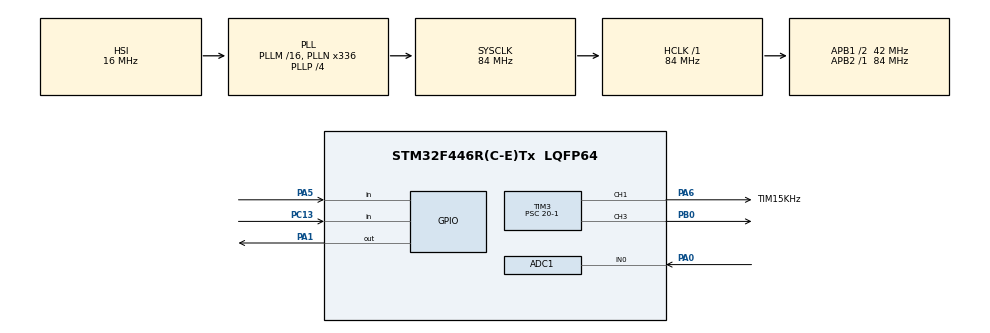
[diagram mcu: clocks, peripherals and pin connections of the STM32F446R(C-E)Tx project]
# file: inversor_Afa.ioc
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ADC1.Channel-0\#ChannelRegularConversion=ADC_CHANNEL_0
ADC1.NbrOfConversionFlag=1
ADC1.Rank-0\#ChannelRegularConversion=1
ADC1.Resolution=ADC_RESOLUTION_6B
ADC1.SamplingTime-0\#ChannelRegularConversion=ADC_SAMPLETIME_3CYCLES
ADC1.master=1
Dma.Request0=TIM3_CH1/TRIG
Dma.Request1=TIM3_CH3
Dma.TIM3_CH1/TRIG.0.Direction=DMA_MEMORY_TO_PERIPH
Dma.TIM3_CH1/TRIG.0.FIFOMode=DMA_FIFOMODE_DISABLE
Dma.TIM3_CH1/TRIG.0.Instance=DMA1_Stream4
Dma.TIM3_CH1/TRIG.0.MemDataAlignment=DMA_MDATAALIGN_HALFWORD
Dma.TIM3_CH1/TRIG.0.MemInc=DMA_MINC_ENABLE
Dma.TIM3_CH1/TRIG.0.Mode=DMA_CIRCULAR
Dma.TIM3_CH1/TRIG.0.PeriphDataAlignment=DMA_PDATAALIGN_HALFWORD
Dma.TIM3_CH1/TRIG.0.PeriphInc=DMA_PINC_DISABLE
Dma.TIM3_CH1/TRIG.0.Priority=DMA_PRIORITY_LOW
Dma.TIM3_CH3.1.Direction=DMA_MEMORY_TO_PERIPH
Dma.TIM3_CH3.1.FIFOMode=DMA_FIFOMODE_DISABLE
Dma.TIM3_CH3.1.Instance=DMA1_Stream7
Dma.TIM3_CH3.1.MemDataAlignment=DMA_MDATAALIGN_HALFWORD
Dma.TIM3_CH3.1.MemInc=DMA_MINC_ENABLE
Dma.TIM3_CH3.1.Mode=DMA_CIRCULAR
Dma.TIM3_CH3.1.PeriphDataAlignment=DMA_PDATAALIGN_HALFWORD
Dma.TIM3_CH3.1.PeriphInc=DMA_PINC_DISABLE
Dma.TIM3_CH3.1.Priority=DMA_PRIORITY_LOW
Mcu.Family=STM32F4
Mcu.Name=STM32F446R(C-E)Tx
Mcu.Package=LQFP64
NVIC.DMA1_Stream4_IRQn=true\:0\:0\:false\:false\:true\:false\:true\:true
NVIC.DMA1_Stream7_IRQn=true\:0\:0\:false\:false\:true\:false\:true\:true
NVIC.PriorityGroup=NVIC_PRIORITYGROUP_0
PA0-WKUP.Signal=ADCx_IN0
PA1.GPIO_PuPd=GPIO_PULLDOWN
PA1.Signal=GPIO_Output
PA13.GPIO_Label=TMS
PA13.Mode=Serial_Wire
PA13.Signal=SYS_JTMS-SWDIO
PA14.GPIO_Label=TCK
PA14.Mode=Serial_Wire
PA14.Signal=SYS_JTCK-SWCLK
PA2.GPIO_Label=USART_TX
PA2.Signal=USART2_TX
PA3.GPIO_Label=USART_RX
PA3.Signal=USART2_RX
PA5.Signal=GPIO_Input
PA6.GPIO_Label=TIM15KHz
PA6.Signal=S_TIM3_CH1
PB0.Signal=S_TIM3_CH3
PB3.GPIO_Label=SWO
PB3.Signal=SYS_JTDO-SWO
PC13.GPIO_PuPd=GPIO_PULLUP
PC13.Signal=GPIO_Input
PC14-OSC32_IN.Mode=LSE-External-Oscillator
PC14-OSC32_IN.Signal=RCC_OSC32_IN
PC15-OSC32_OUT.Mode=LSE-External-Oscillator
PC15-OSC32_OUT.Signal=RCC_OSC32_OUT
PH0-OSC_IN.Mode=HSE-External-Oscillator
PH0-OSC_IN.Signal=RCC_OSC_IN
PH1-OSC_OUT.Mode=HSE-External-Oscillator
PH1-OSC_OUT.Signal=RCC_OSC_OUT
ProjectManager.HeapSize=0x200
ProjectManager.StackSize=0x400
ProjectManager.TargetToolchain=STM32CubeIDE
RCC.48MHZClocksFreq_Value=84000000
RCC.AHBFreq_Value=84000000
RCC.APB1CLKDivider=RCC_HCLK_DIV2
RCC.APB1Freq_Value=42000000
RCC.APB1TimFreq_Value=84000000
RCC.APB2Freq_Value=84000000
RCC.APB2TimFreq_Value=84000000
RCC.CortexFreq_Value=84000000
RCC.FLatency-AdvancedSettings=FLASH_LATENCY_2
RCC.HCLKFreq_Value=84000000
RCC.HSE_VALUE=8000000
RCC.HSI_VALUE=16000000
RCC.PLLN=336
RCC.PLLP=RCC_PLLP_DIV4
RCC.SYSCLKFreq_VALUE=84000000
RCC.SYSCLKSource=RCC_SYSCLKSOURCE_PLLCLK
RCC.USBFreq_Value=168000000
RCC.VCOOutputFreq_Value=336000000
SH.ADCx_IN0.0=ADC1_IN0,IN0
SH.S_TIM3_CH1.0=TIM3_CH1,PWM Generation1 CH1
SH.S_TIM3_CH3.0=TIM3_CH3,PWM Generation3 CH3
TIM3.Channel-PWM\ Generation1\ CH1=TIM_CHANNEL_1
TIM3.Channel-PWM\ Generation3\ CH3=TIM_CHANNEL_3
TIM3.OCMode_PWM-PWM\ Generation3\ CH3=TIM_OCMODE_PWM2
TIM3.Period=280-1
TIM3.Prescaler=20-1
VP_TIM3_VS_ClockSourceINT.Mode=Internal
board=NUCLEO-F446RE

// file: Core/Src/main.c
/* USER CODE BEGIN Header */
/**
  ******************************************************************************
  * @file           : main.c
  * @brief          : Main program body
  ******************************************************************************
  * @attention
  *
  * Copyright (c) 2022 STMicroelectronics.
  * All rights reserved.
  *
  * This software is licensed under terms that can be found in the LICENSE file
  * in the root directory of this software component.
  * If no LICENSE file comes with this software, it is provided AS-IS.
  *
  ******************************************************************************
  */
/* USER CODE END Header */
#include "main.h"

/* USER CODE BEGIN Includes */
#include "math.h"
/* USER CODE END Includes */

/* USER CODE BEGIN PD */
#define DOUBLEPI 6.28
#define POSICOES 250
/* USER CODE END PD */

ADC_HandleTypeDef hadc1;

TIM_HandleTypeDef htim3;
DMA_HandleTypeDef hdma_tim3_ch1_trig;
DMA_HandleTypeDef hdma_tim3_ch3;

/* USER CODE BEGIN PV */

uint16_t seno[POSICOES];
uint16_t seno_inv[POSICOES];
uint8_t i = 0;
int newArr =0;
int prescaler;
int botao;
int rele;
/* USER CODE END PV */

void SystemClock_Config(void);
static void MX_GPIO_Init(void);
static void MX_DMA_Init(void);
static void MX_TIM3_Init(void);
static void MX_ADC1_Init(void);

int main(void)
{

  /* MCU Configuration--------------------------------------------------------*/

  /* Reset of all peripherals, Initializes the Flash interface and the Systick. */
  HAL_Init();

  /* Configure the system clock */
  SystemClock_Config();

  /* Initialize all configured peripherals */
  MX_GPIO_Init();
  MX_DMA_Init();
  MX_TIM3_Init();
  MX_ADC1_Init();
  /* USER CODE BEGIN 2 */

  //Botão para dar Toggle no Relé

  for(i=0;i<POSICOES;i++) //Populatin the Array
  {
	  seno[i] = (((sin(i*(DOUBLEPI/POSICOES)))+1)*(((280+1)/2)));
	  seno_inv[i] = (((sin(i*(DOUBLEPI/POSICOES)))+1)*(((280+1)/2)));
	  //Preenchimento dos Arrays com os valores senoidais de tensão média no PWM

		  if (seno[i]>=140)
		  {
			 seno_inv[i] = 279;
		  }
		  else if (seno[i]<=140)
		  {
			  seno[i] = 0;
		  }
		  //Geração do desligamento no semiciclo negativo

		  if(i>=126 && i<=128)
		  {
			  seno[i] = 0;
			  seno_inv[i] = 279;
		  }
		  //Geração do Intervalo Inicial do Tempo morto

		  if(i>=245 && i<=249)
		  {
			  seno[i] = 0;
			  seno_inv[i] = 279;
		  }
		  //Geração do Intervalo final do tempo morto

  }

  HAL_TIM_PWM_Start_DMA(&htim3, TIM_CHANNEL_1, seno, POSICOES);
  HAL_TIM_PWM_Start_DMA(&htim3, TIM_CHANNEL_3, seno_inv, POSICOES);

  /* USER CODE END 2 */

  /* Infinite loop */
  while (1)
  {

    /* USER CODE BEGIN 3 */
	HAL_ADC_Start(&hadc1);
	newArr = HAL_ADC_GetValue(&hadc1);
	if(newArr>=17 && newArr<=21)
	{
	__HAL_TIM_SET_PRESCALER(&htim3, newArr);
	}

	botao = HAL_GPIO_ReadPin(GPIOC, GPIO_PIN_13);
	  if(botao == 0)
	  {
		  HAL_GPIO_WritePin(GPIOA, GPIO_PIN_1, GPIO_PIN_SET);
	  }

	  rele = HAL_GPIO_ReadPin(GPIOA, GPIO_PIN_1);

	//Limite de valores de frequência
  }
  /* USER CODE END 3 */
}

void SystemClock_Config(void)
{
  RCC_OscInitTypeDef RCC_OscInitStruct = {0};
  RCC_ClkInitTypeDef RCC_ClkInitStruct = {0};

  /** Configure the main internal regulator output voltage
  */
  __HAL_RCC_PWR_CLK_ENABLE();
  __HAL_PWR_VOLTAGESCALING_CONFIG(PWR_REGULATOR_VOLTAGE_SCALE3);

  /** Initializes the RCC Oscillators according to the specified parameters
  * in the RCC_OscInitTypeDef structure.
  */
  RCC_OscInitStruct.OscillatorType = RCC_OSCILLATORTYPE_HSI;
  RCC_OscInitStruct.HSIState = RCC_HSI_ON;
  RCC_OscInitStruct.HSICalibrationValue = RCC_HSICALIBRATION_DEFAULT;
  RCC_OscInitStruct.PLL.PLLState = RCC_PLL_ON;
  RCC_OscInitStruct.PLL.PLLSource = RCC_PLLSOURCE_HSI;
  RCC_OscInitStruct.PLL.PLLM = 16;
  RCC_OscInitStruct.PLL.PLLN = 336;
  RCC_OscInitStruct.PLL.PLLP = RCC_PLLP_DIV4;
  RCC_OscInitStruct.PLL.PLLQ = 2;
  RCC_OscInitStruct.PLL.PLLR = 2;
  if (HAL_RCC_OscConfig(&RCC_OscInitStruct) != HAL_OK)
  {
    Error_Handler();
  }

  /** Initializes the CPU, AHB and APB buses clocks
  */
  RCC_ClkInitStruct.ClockType = RCC_CLOCKTYPE_HCLK|RCC_CLOCKTYPE_SYSCLK
                              |RCC_CLOCKTYPE_PCLK1|RCC_CLOCKTYPE_PCLK2;
  RCC_ClkInitStruct.SYSCLKSource = RCC_SYSCLKSOURCE_PLLCLK;
  RCC_ClkInitStruct.AHBCLKDivider = RCC_SYSCLK_DIV1;
  RCC_ClkInitStruct.APB1CLKDivider = RCC_HCLK_DIV2;
  RCC_ClkInitStruct.APB2CLKDivider = RCC_HCLK_DIV1;

  if (HAL_RCC_ClockConfig(&RCC_ClkInitStruct, FLASH_LATENCY_2) != HAL_OK)
  {
    Error_Handler();
  }
}

static void MX_ADC1_Init(void)
{

  ADC_ChannelConfTypeDef sConfig = {0};

  /** Configure the global features of the ADC (Clock, Resolution, Data Alignment and number of conversion)
  */
  hadc1.Instance = ADC1;
  hadc1.Init.ClockPrescaler = ADC_CLOCK_SYNC_PCLK_DIV4;
  hadc1.Init.Resolution = ADC_RESOLUTION_6B;
  hadc1.Init.ScanConvMode = DISABLE;
  hadc1.Init.ContinuousConvMode = DISABLE;
  hadc1.Init.DiscontinuousConvMode = DISABLE;
  hadc1.Init.ExternalTrigConvEdge = ADC_EXTERNALTRIGCONVEDGE_NONE;
  hadc1.Init.ExternalTrigConv = ADC_SOFTWARE_START;
  hadc1.Init.DataAlign = ADC_DATAALIGN_RIGHT;
  hadc1.Init.NbrOfConversion = 1;
  hadc1.Init.DMAContinuousRequests = DISABLE;
  hadc1.Init.EOCSelection = ADC_EOC_SINGLE_CONV;
  if (HAL_ADC_Init(&hadc1) != HAL_OK)
  {
    Error_Handler();
  }

  /** Configure for the selected ADC regular channel its corresponding rank in the sequencer and its sample time.
  */
  sConfig.Channel = ADC_CHANNEL_0;
  sConfig.Rank = 1;
  sConfig.SamplingTime = ADC_SAMPLETIME_3CYCLES;
  if (HAL_ADC_ConfigChannel(&hadc1, &sConfig) != HAL_OK)
  {
    Error_Handler();
  }

}

static void MX_TIM3_Init(void)
{

  TIM_ClockConfigTypeDef sClockSourceConfig = {0};
  TIM_MasterConfigTypeDef sMasterConfig = {0};
  TIM_OC_InitTypeDef sConfigOC = {0};

  htim3.Instance = TIM3;
  htim3.Init.Prescaler = 20-1;
  htim3.Init.CounterMode = TIM_COUNTERMODE_UP;
  htim3.Init.Period = 280-1;
  htim3.Init.ClockDivision = TIM_CLOCKDIVISION_DIV1;
  htim3.Init.AutoReloadPreload = TIM_AUTORELOAD_PRELOAD_DISABLE;
  if (HAL_TIM_Base_Init(&htim3) != HAL_OK)
  {
    Error_Handler();
  }
  sClockSourceConfig.ClockSource = TIM_CLOCKSOURCE_INTERNAL;
  if (HAL_TIM_ConfigClockSource(&htim3, &sClockSourceConfig) != HAL_OK)
  {
    Error_Handler();
  }
  if (HAL_TIM_PWM_Init(&htim3) != HAL_OK)
  {
    Error_Handler();
  }
  sMasterConfig.MasterOutputTrigger = TIM_TRGO_RESET;
  sMasterConfig.MasterSlaveMode = TIM_MASTERSLAVEMODE_DISABLE;
  if (HAL_TIMEx_MasterConfigSynchronization(&htim3, &sMasterConfig) != HAL_OK)
  {
    Error_Handler();
  }
  sConfigOC.OCMode = TIM_OCMODE_PWM1;
  sConfigOC.Pulse = 0;
  sConfigOC.OCPolarity = TIM_OCPOLARITY_HIGH;
  sConfigOC.OCFastMode = TIM_OCFAST_DISABLE;
  if (HAL_TIM_PWM_ConfigChannel(&htim3, &sConfigOC, TIM_CHANNEL_1) != HAL_OK)
  {
    Error_Handler();
  }
  sConfigOC.OCMode = TIM_OCMODE_PWM2;
  if (HAL_TIM_PWM_ConfigChannel(&htim3, &sConfigOC, TIM_CHANNEL_3) != HAL_OK)
  {
    Error_Handler();
  }
  HAL_TIM_MspPostInit(&htim3);

}

static void MX_DMA_Init(void)
{

  /* DMA controller clock enable */
  __HAL_RCC_DMA1_CLK_ENABLE();

  /* DMA interrupt init */
  /* DMA1_Stream4_IRQn interrupt configuration */
  HAL_NVIC_SetPriority(DMA1_Stream4_IRQn, 0, 0);
  HAL_NVIC_EnableIRQ(DMA1_Stream4_IRQn);
  /* DMA1_Stream7_IRQn interrupt configuration */
  HAL_NVIC_SetPriority(DMA1_Stream7_IRQn, 0, 0);
  HAL_NVIC_EnableIRQ(DMA1_Stream7_IRQn);

}

static void MX_GPIO_Init(void)
{
  GPIO_InitTypeDef GPIO_InitStruct = {0};

  /* GPIO Ports Clock Enable */
  __HAL_RCC_GPIOC_CLK_ENABLE();
  __HAL_RCC_GPIOH_CLK_ENABLE();
  __HAL_RCC_GPIOA_CLK_ENABLE();
  __HAL_RCC_GPIOB_CLK_ENABLE();

  /*Configure GPIO pin Output Level */
  HAL_GPIO_WritePin(GPIOA, GPIO_PIN_1, GPIO_PIN_RESET);

  /*Configure GPIO pin : PC13 */
  GPIO_InitStruct.Pin = GPIO_PIN_13;
  GPIO_InitStruct.Mode = GPIO_MODE_INPUT;
  GPIO_InitStruct.Pull = GPIO_PULLUP;
  HAL_GPIO_Init(GPIOC, &GPIO_InitStruct);

  /*Configure GPIO pin : PA1 */
  GPIO_InitStruct.Pin = GPIO_PIN_1;
  GPIO_InitStruct.Mode = GPIO_MODE_OUTPUT_PP;
  GPIO_InitStruct.Pull = GPIO_PULLDOWN;
  GPIO_InitStruct.Speed = GPIO_SPEED_FREQ_LOW;
  HAL_GPIO_Init(GPIOA, &GPIO_InitStruct);

  /*Configure GPIO pins : USART_TX_Pin USART_RX_Pin */
  GPIO_InitStruct.Pin = USART_TX_Pin|USART_RX_Pin;
  GPIO_InitStruct.Mode = GPIO_MODE_AF_PP;
  GPIO_InitStruct.Pull = GPIO_NOPULL;
  GPIO_InitStruct.Speed = GPIO_SPEED_FREQ_VERY_HIGH;
  GPIO_InitStruct.Alternate = GPIO_AF7_USART2;
  HAL_GPIO_Init(GPIOA, &GPIO_InitStruct);

  /*Configure GPIO pin : PA5 */
  GPIO_InitStruct.Pin = GPIO_PIN_5;
  GPIO_InitStruct.Mode = GPIO_MODE_INPUT;
  GPIO_InitStruct.Pull = GPIO_NOPULL;
  HAL_GPIO_Init(GPIOA, &GPIO_InitStruct);

}

void Error_Handler(void)
{
  __disable_irq();
  while (1)
  {
  }
}
